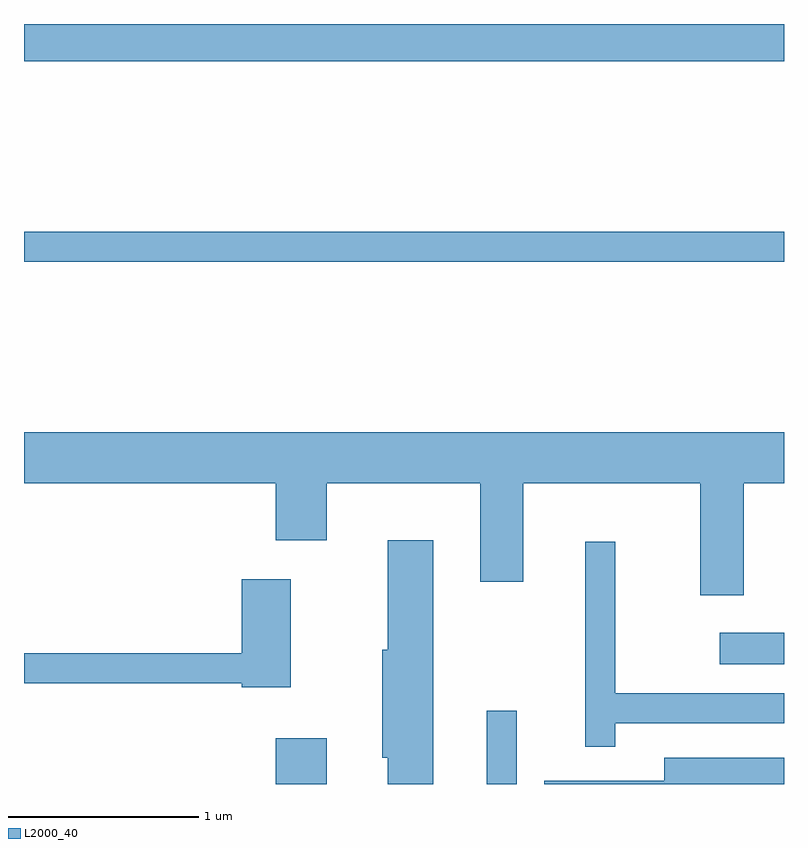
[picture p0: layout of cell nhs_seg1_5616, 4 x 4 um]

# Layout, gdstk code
import gdstk
lib = gdstk.Library(unit=1e-6, precision=1e-09)
def R(c, l, rs):  # rectangles x0, y0, x1, y1
    for r in rs: c.add(gdstk.rectangle(r[:2], r[2:], *l))
def P(c, l, *ps):  # polygons
    for p in ps: c.add(gdstk.Polygon(p, *l))
L2000_40 = (2000, 40)

nhs_seg1_5616 = lib.new_cell('nhs_seg1_5616')
R(nhs_seg1_5616, L2000_40, [(354.936,955.712,355.204,955.954), (356.046,955.712,356.204,956.098), (357.273,956.341,357.611,956.509), (353.611,958.461,357.611,958.619), (353.611,959.516,357.611,959.712)])
P(nhs_seg1_5616, L2000_40, [(357.399,957.296),(357.611,957.296),(357.611,957.564),(353.611,957.564),(353.611,957.296),(354.936,957.296),(354.936,956.996),(355.204,956.996),(355.204,957.296),(356.011,957.296),(356.011,956.776),(356.239,956.776),(356.239,957.296),(357.171,957.296),(357.171,956.706),(357.399,956.706)],
  [(355.764,956.994),(355.526,956.994),(355.526,956.419),(355.496,956.419),(355.496,955.851),(355.526,955.851),(355.526,955.712),(355.764,955.712)],
  [(356.724,956.031),(357.611,956.031),(357.611,956.189),(356.724,956.189),(356.724,956.988),(356.566,956.988),(356.566,955.908),(356.724,955.908)],
  [(355.014,956.789),(354.756,956.789),(354.756,956.399),(353.611,956.399),(353.611,956.241),(354.756,956.241),(354.756,956.221),(355.014,956.221)],
  [(357.611,955.849),(356.981,955.849),(356.981,955.729),(356.348,955.729),(356.348,955.712),(357.611,955.712)])

lib.write_gds('nhs_seg1_5616.gds')
